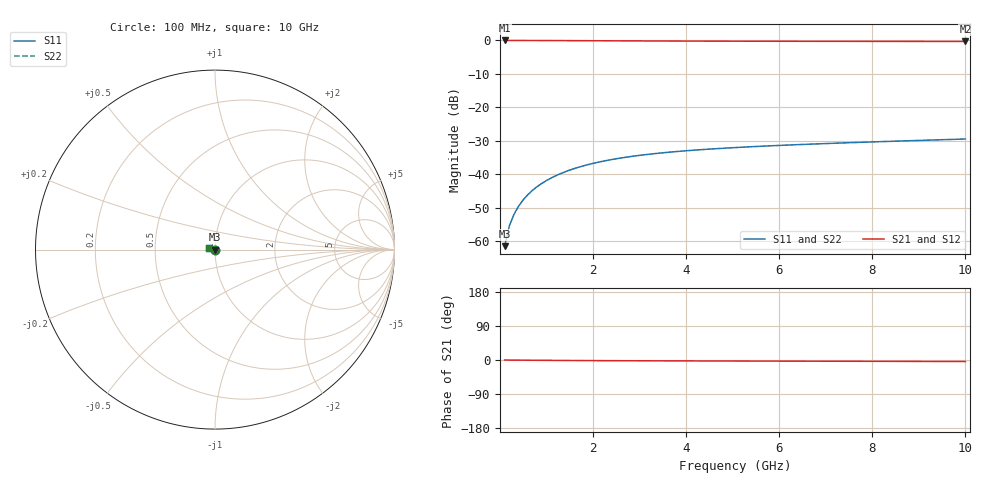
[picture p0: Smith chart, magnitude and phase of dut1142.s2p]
! Touchstone file exported from HFSS 2024.1.0
!  File:  C:/UserFiles/LocalFiles/RDL_TSV_Batchsim/temp_TSV1_1142_1780071096.aedt
!  Generated:  12:17:50 AM May 30, 2026
!  Design:  TSV1
!  Project:  temp_TSV1_1142_1780071096
!  Setup:  Setup1
!  Solution:  Sweep
! Variables:
!  dtsv = 9.78um
!  hbump = 3um
!  htsv = 58.2um
!  lrdl = 252.1521522um
!  p = 40
!  p1 = 56.86um
!  t = 500um
!  trdl = 3um
!  wrdl = 24.89489489um
# GHz S MA R 50.000000
! Terminal data exported
! Port[1] = TSV22_T1
! Port[2] = TSV22_T2
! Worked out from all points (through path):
!   100 points, 100 MHz to 10 GHz, reference 50 ohm
!   highest |S21| = 0.00 dB at 100 MHz (marker M1); lowest = -0.3 dB at 10 GHz (marker M2)
!   lowest |S11| = -61.6 dB at 100 MHz (marker M3), VSWR 1.00, Z = 50 - j0.0831 ohm
!   |S11| at or under -10 dB: start of sweep to end of sweep
!   |S22| runs from -61.6 to -29.5 dB; largest |S21 - S12| = 6e-15
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0.1  0.0008357 -83.5  0.9998 -0.1  0.9998 -0.1  0.0008357 -83.5
! Gamma 0 0 0 0
! Port Impedance 50 0 50 0
0.2  0.001661 -89.7  0.9997 -0.2  0.9997 -0.2  0.001661 -89.7
0.3  0.002489 -93.3  0.9996 -0.3  0.9996 -0.3  0.002489 -93.3
0.4  0.003313 -96.2  0.9993 -0.4  0.9993 -0.4  0.003313 -96.2
0.5  0.004128 -98.8  0.999 -0.5  0.999 -0.5  0.004128 -98.8
0.6  0.004933 -101.2  0.9987 -0.6  0.9987 -0.6  0.004933 -101.2
0.7  0.005727 -103.5  0.9983 -0.7  0.9983 -0.7  0.005727 -103.5
0.8  0.006507 -105.7  0.9979 -0.7  0.9979 -0.7  0.006507 -105.7
0.9  0.007271 -107.9  0.9974 -0.8  0.9974 -0.8  0.007271 -107.9
1.1  0.008751 -112.1  0.9963 -1.0  0.9963 -1.0  0.008751 -112.1
1.4  0.01083 -118.1  0.9945 -1.2  0.9945 -1.2  0.01083 -118.1
1.6  0.01213 -121.9  0.9932 -1.3  0.9932 -1.3  0.01213 -121.9
1.8  0.01334 -125.6  0.9918 -1.5  0.9918 -1.5  0.01334 -125.6
2.1  0.01501 -130.8  0.9898 -1.6  0.9898 -1.6  0.01501 -130.8
2.5  0.01698 -137.1  0.9871 -1.8  0.9871 -1.8  0.01698 -137.1
2.9  0.01869 -143.0  0.9846 -2.0  0.9846 -2.0  0.01869 -143.0
3.4  0.02052 -149.6  0.9817 -2.2  0.9817 -2.2  0.02052 -149.6
4.2  0.02291 -158.8  0.978 -2.5  0.978 -2.5  0.02291 -158.8
5.1  0.02506 -167.7  0.9747 -2.7  0.9747 -2.7  0.02506 -167.7
6.7  0.02814 179.6  0.9706 -3.1  0.9706 -3.1  0.02814 179.6
8.4  0.03097 168.8  0.9679 -3.6  0.9679 -3.6  0.03097 168.8
10  0.03351 160.4  0.9661 -4.0  0.9661 -4.0  0.03351 160.4
